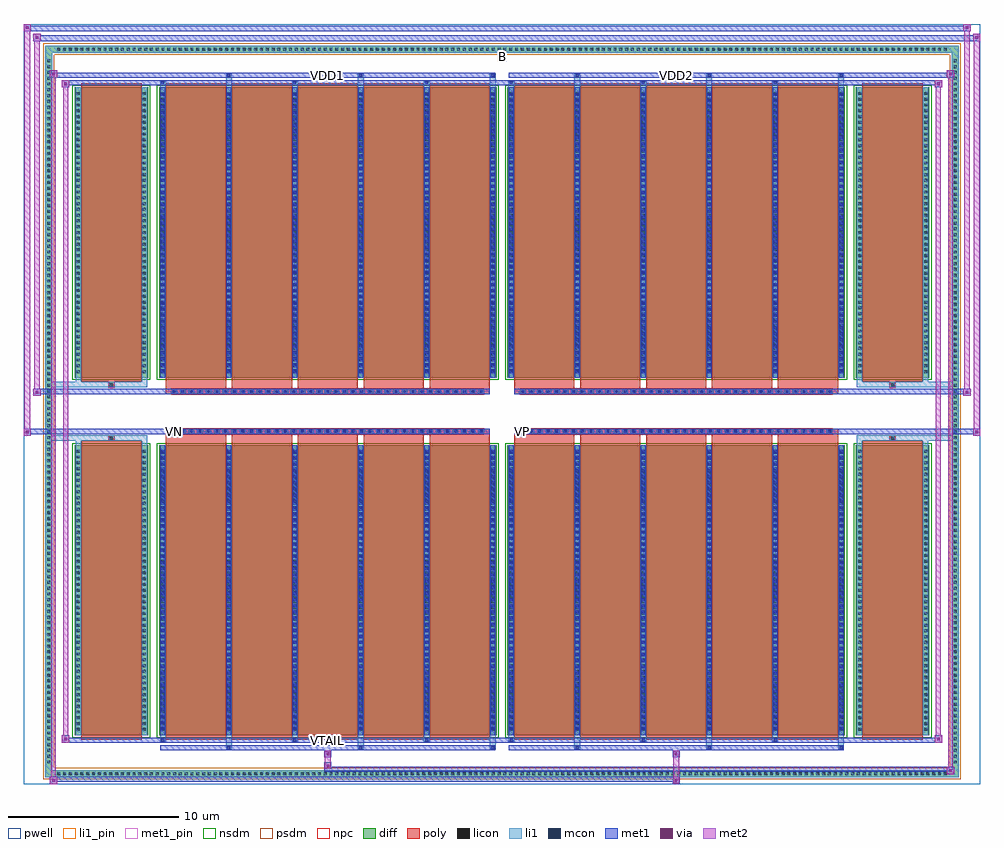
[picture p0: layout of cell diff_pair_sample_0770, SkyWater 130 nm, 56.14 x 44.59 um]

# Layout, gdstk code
import gdstk
lib = gdstk.Library(unit=1e-6, precision=5e-09)
def R(c, l, rs):  # rectangles x0, y0, x1, y1
    for r in rs: c.add(gdstk.rectangle(r[:2], r[2:], *l))
def A(c, l, x, y, w, h, nx, ny, dx, dy):  # array of equal rectangles
    R(c, l, [(x+i*dx, y+j*dy, x+i*dx+w, y+j*dy+h) for i in range(nx) for j in range(ny)])
def P(c, l, *ps):  # polygons
    for p in ps: c.add(gdstk.Polygon(p, *l))
pwell = (64, 44)
diff = (65, 20)
poly = (66, 20)
licon = (66, 44)
li1_pin = (67, 16)
li1 = (67, 20)
mcon = (67, 44)
met1_pin = (68, 16)
met1 = (68, 20)
via = (68, 44)
met2 = (69, 20)
nsdm = (93, 44)
psdm = (94, 20)
npc = (95, 20)

diff_pair_sample_0770 = lib.new_cell('diff_pair_sample_0770')
R(diff_pair_sample_0770, pwell, [(-28.07,-21.86,28.07,22.73), (-25.39,-20.05,-0.01,-0.805), (0.01,-20.05,25.39,-0.805), (-25.39,0.805,-0.01,20.05), (0.01,0.805,25.39,20.05)])
A(diff_pair_sample_0770, diff, -26.215, -21.46, 0.41, 0.41, 154, 2, 0.34, 42.51)
A(diff_pair_sample_0770, diff, -26.8, -20.775, 0.41, 0.41, 1, 122, 0, 0.34)
A(diff_pair_sample_0770, diff, 26.39, -20.775, 0.41, 0.41, 1, 122, 0, 0.34)
R(diff_pair_sample_0770, diff, [(-26.215,-21.46,26.215,-21.05), (-26.8,-20.775,-26.39,20.775), (26.39,-20.775,26.8,20.775), (-25.08,-19.005,-20.76,-1.985), (-20.12,-19.005,-0.32,-1.985), (0.32,-19.005,20.12,-1.985), (20.76,-19.005,25.08,-1.985), (-25.08,1.985,-20.76,19.005), (-20.12,1.985,-0.32,19.005), (0.32,1.985,20.12,19.005), (20.76,1.985,25.08,19.005), (-26.215,21.05,26.215,21.46)])
P(diff_pair_sample_0770, diff, [(26.8,21.46),(-26.8,21.46),(-26.8,-21.05),(-26.39,-21.05),(-26.39,21.05),(26.39,21.05),(26.39,-21.05),(-26.39,-21.05),(-26.8,-21.05),(-26.8,-21.46),(26.8,-21.46)])
A(diff_pair_sample_0770, poly, -19.73, -19.255, 3.54, 17.52, 5, 2, 3.87, 20.99)
A(diff_pair_sample_0770, poly, 0.71, -19.255, 3.54, 17.52, 5, 2, 3.87, 20.99)
A(diff_pair_sample_0770, poly, -19.73, -1.735, 3.54, 0.4, 5, 2, 3.87, 3.07)
A(diff_pair_sample_0770, poly, 0.71, -1.735, 3.54, 0.4, 5, 2, 3.87, 3.07)
A(diff_pair_sample_0770, poly, -19.385, -1.335, 0.33, 0.33, 37, 2, 0.5, 2.34)
A(diff_pair_sample_0770, poly, 1.055, -1.335, 0.33, 0.33, 37, 2, 0.5, 2.34)
R(diff_pair_sample_0770, poly, [(-24.69,-19.255,-21.15,-1.735), (21.15,-19.255,24.69,-1.735), (-23.085,-1.735,-22.755,-1.405), (-23.085,-1.735,-22.755,-1.405), (22.755,-1.735,23.085,-1.405), (22.755,-1.735,23.085,-1.405), (-19.73,-1.335,-0.71,-1.005), (0.71,-1.335,19.73,-1.005), (-19.73,1.005,-0.71,1.335), (0.71,1.005,19.73,1.335), (-23.085,1.405,-22.755,1.735), (-23.085,1.405,-22.755,1.735), (22.755,1.405,23.085,1.735), (22.755,1.405,23.085,1.735), (-24.69,1.735,-21.15,19.255), (21.15,1.735,24.69,19.255)])
A(diff_pair_sample_0770, licon, -26.095, -21.34, 0.17, 0.17, 154, 2, 0.34, 42.51)
A(diff_pair_sample_0770, licon, -26.68, -20.655, 0.17, 0.17, 1, 122, 0, 0.34)
A(diff_pair_sample_0770, licon, 26.51, -20.655, 0.17, 0.17, 1, 122, 0, 0.34)
A(diff_pair_sample_0770, licon, -24.94, -18.74, 0.17, 0.17, 1, 49, 0, 0.34)
A(diff_pair_sample_0770, licon, -21.07, -18.74, 0.17, 0.17, 1, 49, 0, 0.34)
A(diff_pair_sample_0770, licon, -19.98, -18.74, 0.17, 0.17, 6, 49, 3.87, 0.34)
A(diff_pair_sample_0770, licon, 0.46, -18.74, 0.17, 0.17, 6, 49, 3.87, 0.34)
A(diff_pair_sample_0770, licon, 20.9, -18.74, 0.17, 0.17, 1, 49, 0, 0.34)
A(diff_pair_sample_0770, licon, 24.77, -18.74, 0.17, 0.17, 1, 49, 0, 0.34)
A(diff_pair_sample_0770, licon, -19.305, -1.255, 0.17, 0.17, 37, 2, 0.5, 2.34)
A(diff_pair_sample_0770, licon, 1.135, -1.255, 0.17, 0.17, 37, 2, 0.5, 2.34)
A(diff_pair_sample_0770, licon, -24.94, 2.25, 0.17, 0.17, 1, 49, 0, 0.34)
A(diff_pair_sample_0770, licon, -21.07, 2.25, 0.17, 0.17, 1, 49, 0, 0.34)
A(diff_pair_sample_0770, licon, -19.98, 2.25, 0.17, 0.17, 6, 49, 3.87, 0.34)
A(diff_pair_sample_0770, licon, 0.46, 2.25, 0.17, 0.17, 6, 49, 3.87, 0.34)
A(diff_pair_sample_0770, licon, 20.9, 2.25, 0.17, 0.17, 1, 49, 0, 0.34)
A(diff_pair_sample_0770, licon, 24.77, 2.25, 0.17, 0.17, 1, 49, 0, 0.34)
R(diff_pair_sample_0770, licon, [(-23.005,-1.655,-22.835,-1.485), (22.835,-1.655,23.005,-1.485), (-23.005,1.485,-22.835,1.655), (22.835,1.485,23.005,1.655)])
R(diff_pair_sample_0770, li1_pin, [(-0.25,20.55,0.25,21.05)])
A(diff_pair_sample_0770, li1, -26.175, -21.42, 0.33, 0.33, 154, 2, 0.34, 42.51)
A(diff_pair_sample_0770, li1, -26.76, -20.735, 0.33, 0.33, 1, 122, 0, 0.34)
A(diff_pair_sample_0770, li1, 26.43, -20.735, 0.33, 0.33, 1, 122, 0, 0.34)
A(diff_pair_sample_0770, li1, -16.19, -19.81, 0.33, 0.805, 3, 2, 7.74, 38.815)
A(diff_pair_sample_0770, li1, -16.11, -19.81, 0.17, 0.17, 3, 2, 7.74, 39.45)
A(diff_pair_sample_0770, li1, 4.25, -19.81, 0.33, 0.805, 3, 2, 7.74, 38.815)
A(diff_pair_sample_0770, li1, 4.33, -19.81, 0.17, 0.17, 3, 2, 7.74, 39.45)
A(diff_pair_sample_0770, li1, -20.06, -19.38, 0.33, 0.375, 3, 2, 7.74, 38.385)
A(diff_pair_sample_0770, li1, -19.98, -19.38, 0.17, 0.17, 3, 2, 7.74, 38.59)
A(diff_pair_sample_0770, li1, 0.38, -19.38, 0.33, 0.375, 3, 2, 7.74, 38.385)
A(diff_pair_sample_0770, li1, 0.46, -19.38, 0.17, 0.17, 3, 2, 7.74, 38.59)
A(diff_pair_sample_0770, li1, -20.06, -19.005, 0.33, 17.02, 6, 2, 3.87, 20.99)
A(diff_pair_sample_0770, li1, 0.38, -19.005, 0.33, 17.02, 6, 2, 3.87, 20.99)
A(diff_pair_sample_0770, li1, -25.02, -18.82, 0.33, 0.33, 1, 49, 0, 0.34)
A(diff_pair_sample_0770, li1, -21.15, -18.82, 0.33, 0.33, 1, 49, 0, 0.34)
A(diff_pair_sample_0770, li1, -20.06, -18.82, 0.33, 0.33, 6, 49, 3.87, 0.34)
A(diff_pair_sample_0770, li1, 0.38, -18.82, 0.33, 0.33, 6, 49, 3.87, 0.34)
A(diff_pair_sample_0770, li1, 20.82, -18.82, 0.33, 0.33, 1, 49, 0, 0.34)
A(diff_pair_sample_0770, li1, 24.69, -18.82, 0.33, 0.33, 1, 49, 0, 0.34)
A(diff_pair_sample_0770, li1, -19.98, -18.68, 0.17, 0.17, 6, 46, 3.87, 0.36)
A(diff_pair_sample_0770, li1, -19.98, -18.68, 0.17, 16.37, 6, 2, 3.87, 20.99)
A(diff_pair_sample_0770, li1, 0.46, -18.68, 0.17, 0.17, 6, 46, 3.87, 0.36)
A(diff_pair_sample_0770, li1, 0.46, -18.68, 0.17, 16.37, 6, 2, 3.87, 20.99)
A(diff_pair_sample_0770, li1, -19.385, -1.335, 0.33, 0.33, 37, 2, 0.5, 2.34)
A(diff_pair_sample_0770, li1, 1.055, -1.335, 0.33, 0.33, 37, 2, 0.5, 2.34)
A(diff_pair_sample_0770, li1, -25.02, 2.17, 0.33, 0.33, 1, 49, 0, 0.34)
A(diff_pair_sample_0770, li1, -21.15, 2.17, 0.33, 0.33, 1, 49, 0, 0.34)
A(diff_pair_sample_0770, li1, -20.06, 2.17, 0.33, 0.33, 6, 49, 3.87, 0.34)
A(diff_pair_sample_0770, li1, 0.38, 2.17, 0.33, 0.33, 6, 49, 3.87, 0.34)
A(diff_pair_sample_0770, li1, 20.82, 2.17, 0.33, 0.33, 1, 49, 0, 0.34)
A(diff_pair_sample_0770, li1, 24.69, 2.17, 0.33, 0.33, 1, 49, 0, 0.34)
A(diff_pair_sample_0770, li1, -19.98, 2.31, 0.17, 0.17, 6, 46, 3.87, 0.36)
A(diff_pair_sample_0770, li1, 0.46, 2.31, 0.17, 0.17, 6, 46, 3.87, 0.36)
R(diff_pair_sample_0770, li1, [(-26.8,-21.46,-26.39,-21.05), (-26.8,-21.46,-26.39,-21.05), (-26.39,-21.46,26.39,-21.05), (26.39,-21.46,26.8,-21.05), (26.39,-21.46,26.8,-21.05), (-26.8,-21.05,-26.39,21.05), (26.39,-21.05,26.8,21.05), (-25.02,-19.005,-24.69,-1.985), (-21.15,-19.005,-20.82,-1.985), (20.82,-19.005,21.15,-1.985), (24.69,-19.005,25.02,-1.985), (-25.02,-1.985,-24.69,-1.405), (-21.15,-1.985,-20.82,-1.405), (20.82,-1.985,21.15,-1.405), (24.69,-1.985,25.02,-1.405), (-26.8,-1.735,-23.085,-1.405), (-25.02,-1.735,-23.085,-1.405), (-23.085,-1.735,-22.755,-1.405), (-22.755,-1.735,-20.82,-1.405), (20.82,-1.735,22.755,-1.405), (22.755,-1.735,23.085,-1.405), (22.755,-1.735,26.8,-1.405), (23.085,-1.735,25.02,-1.405), (-26.8,1.405,-23.085,1.735), (-25.02,1.405,-23.085,1.735), (-25.02,1.405,-24.69,1.985), (-23.085,1.405,-22.755,1.735), (-22.755,1.405,-20.82,1.735), (-21.15,1.405,-20.82,1.985), (20.82,1.405,22.755,1.735), (20.82,1.405,21.15,1.985), (22.755,1.405,23.085,1.735), (22.755,1.405,26.8,1.735), (23.085,1.405,25.02,1.735), (24.69,1.405,25.02,1.985), (-25.02,1.985,-24.69,19.005), (-21.15,1.985,-20.82,19.005), (20.82,1.985,21.15,19.005), (24.69,1.985,25.02,19.005), (-26.8,21.05,-26.39,21.46), (-26.8,21.05,-26.39,21.46), (-26.39,21.05,26.39,21.46), (26.39,21.05,26.8,21.46), (26.39,21.05,26.8,21.46)])
A(diff_pair_sample_0770, mcon, -16.11, -19.81, 0.17, 0.17, 3, 2, 7.74, 39.45)
A(diff_pair_sample_0770, mcon, 4.33, -19.81, 0.17, 0.17, 3, 2, 7.74, 39.45)
A(diff_pair_sample_0770, mcon, -19.98, -19.38, 0.17, 0.17, 3, 2, 7.74, 38.59)
A(diff_pair_sample_0770, mcon, 0.46, -19.38, 0.17, 0.17, 3, 2, 7.74, 38.59)
A(diff_pair_sample_0770, mcon, -19.98, -18.68, 0.17, 0.17, 6, 46, 3.87, 0.36)
A(diff_pair_sample_0770, mcon, 0.46, -18.68, 0.17, 0.17, 6, 46, 3.87, 0.36)
A(diff_pair_sample_0770, mcon, -19.305, -1.255, 0.17, 0.17, 37, 2, 0.5, 2.34)
A(diff_pair_sample_0770, mcon, 1.135, -1.255, 0.17, 0.17, 37, 2, 0.5, 2.34)
A(diff_pair_sample_0770, mcon, -19.98, 2.31, 0.17, 0.17, 6, 46, 3.87, 0.36)
A(diff_pair_sample_0770, mcon, 0.46, 2.31, 0.17, 0.17, 6, 46, 3.87, 0.36)
R(diff_pair_sample_0770, met1_pin, [(-10.355,-19.42,-10.085,-19.15), (-19.355,-1.295,-19.085,-1.025), (1.085,-1.295,1.355,-1.025), (-10.355,19.6,-10.085,19.87), (10.085,19.6,10.355,19.87)])
A(diff_pair_sample_0770, met1, -16.17, -19.87, 0.29, 0.29, 3, 2, 7.74, 39.45)
A(diff_pair_sample_0770, met1, 4.27, -19.87, 0.29, 0.29, 3, 2, 7.74, 39.45)
A(diff_pair_sample_0770, met1, -20.04, -19.44, 0.29, 0.29, 3, 2, 7.74, 38.59)
A(diff_pair_sample_0770, met1, 0.4, -19.44, 0.29, 0.29, 3, 2, 7.74, 38.59)
A(diff_pair_sample_0770, met1, -20.04, -19.005, 0.29, 17.02, 6, 2, 3.87, 20.99)
A(diff_pair_sample_0770, met1, 0.4, -19.005, 0.29, 17.02, 6, 2, 3.87, 20.99)
A(diff_pair_sample_0770, met1, -20.04, -18.74, 0.29, 0.29, 6, 46, 3.87, 0.36)
A(diff_pair_sample_0770, met1, 0.4, -18.74, 0.29, 0.29, 6, 46, 3.87, 0.36)
A(diff_pair_sample_0770, met1, -19.365, -1.315, 0.29, 0.29, 37, 2, 0.5, 2.34)
A(diff_pair_sample_0770, met1, 1.075, -1.315, 0.29, 0.29, 37, 2, 0.5, 2.34)
A(diff_pair_sample_0770, met1, -20.04, 2.25, 0.29, 0.29, 6, 46, 3.87, 0.36)
A(diff_pair_sample_0770, met1, 0.4, 2.25, 0.29, 0.29, 6, 46, 3.87, 0.36)
R(diff_pair_sample_0770, met1, [(-26.53,-21.86,-26.1,-21.43), (10.005,-21.86,10.435,-21.43), (-26.53,-21.72,10.435,-21.43), (26.1,-21.29,26.53,-20.86), (-10.435,-21.15,26.53,-20.86), (-10.435,-21.01,-10.005,-20.58), (-10.435,-20.3,-10.005,-19.87), (10.005,-20.3,10.435,-19.87), (-20.04,-19.87,-0.4,-19.58), (0.4,-19.87,20.04,-19.58), (-25.82,-19.44,-25.39,-19.01), (-25.82,-19.44,-20.04,-19.15), (-20.04,-19.44,-0.4,-19.15), (-0.4,-19.44,0.4,-19.15), (0.4,-19.44,20.04,-19.15), (20.04,-19.44,25.82,-19.15), (25.39,-19.44,25.82,-19.01), (-28.07,-1.435,-27.64,-1.005), (27.64,-1.435,28.07,-1.005), (-28.07,-1.335,-0.71,-1.005), (-19.73,-1.335,-0.71,-1.005), (0.71,-1.335,19.73,-1.005), (0.71,-1.335,28.07,-1.005), (-27.5,0.905,-27.07,1.335), (27.07,0.905,27.5,1.335), (-27.5,1.005,-19.73,1.335), (-19.73,1.005,-0.71,1.335), (0.71,1.005,19.73,1.335), (19.73,1.005,27.5,1.335), (-25.82,19.01,-25.39,19.44), (25.39,19.01,25.82,19.44), (-25.82,19.15,-20.04,19.44), (-20.04,19.15,-0.4,19.44), (-0.4,19.15,0.4,19.44), (0.4,19.15,20.04,19.44), (20.04,19.15,25.82,19.44), (-26.53,19.58,-26.1,20.01), (-26.53,19.58,-20.04,19.87), (-20.04,19.58,-0.4,19.87), (0.4,19.58,20.04,19.87), (20.04,19.58,26.53,19.87), (26.1,19.58,26.53,20.01), (-27.5,21.73,-27.07,22.16), (-27.5,21.73,-25.39,22.06), (-25.39,21.73,25.39,22.06), (25.39,21.73,28.07,22.06), (27.64,21.73,28.07,22.16), (-28.07,22.3,-27.64,22.73), (-28.07,22.3,-25.39,22.63), (-25.39,22.3,25.39,22.63), (25.39,22.3,27.5,22.63), (27.07,22.3,27.5,22.73)])
R(diff_pair_sample_0770, via, [(-26.39,-21.72,-26.24,-21.57), (10.145,-21.72,10.295,-21.57), (26.24,-21.15,26.39,-21), (-10.295,-20.87,-10.145,-20.72), (-10.295,-20.16,-10.145,-20.01), (10.145,-20.16,10.295,-20.01), (-25.68,-19.3,-25.53,-19.15), (25.53,-19.3,25.68,-19.15), (-27.93,-1.295,-27.78,-1.145), (27.78,-1.295,27.93,-1.145), (-27.36,1.045,-27.21,1.195), (27.21,1.045,27.36,1.195), (-25.68,19.15,-25.53,19.3), (25.53,19.15,25.68,19.3), (-26.39,19.72,-26.24,19.87), (26.24,19.72,26.39,19.87), (-27.36,21.87,-27.21,22.02), (27.78,21.87,27.93,22.02), (-27.93,22.44,-27.78,22.59), (27.21,22.44,27.36,22.59)])
R(diff_pair_sample_0770, met2, [(-26.53,-21.86,-26.1,-21.43), (-26.46,-21.86,-26.17,20.01), (-26.17,-21.86,-26.1,-21.43), (-26.48,-21.81,-26.15,-21.48), (10.055,-21.81,10.385,-21.48), (10.055,-21.48,10.385,-20.25), (26.1,-21.29,26.53,-20.86), (26.17,-21.29,26.46,20.01), (26.46,-21.29,26.53,-20.86), (26.15,-21.24,26.48,-20.91), (-10.385,-20.96,-10.055,-20.63), (-10.385,-20.63,-10.055,-20.25), (-10.385,-20.25,-10.055,-19.92), (10.055,-20.25,10.385,-19.92), (-25.82,-19.44,-25.39,-19.01), (-25.75,-19.44,-25.46,19.44), (-25.46,-19.44,-25.39,-19.01), (25.39,-19.44,25.82,-19.01), (25.46,-19.44,25.75,19.44), (25.75,-19.44,25.82,-19.01), (-25.77,-19.39,-25.44,-19.06), (25.44,-19.39,25.77,-19.06), (-28.07,-1.435,-27.64,-1.005), (-28.02,-1.435,-27.69,22.73), (-27.69,-1.435,-27.64,-1.005), (27.64,-1.435,28.07,-1.005), (27.69,-1.435,28.02,22.16), (28.02,-1.435,28.07,-1.005), (-28.02,-1.385,-27.69,-1.055), (27.69,-1.385,28.02,-1.055), (-27.5,0.905,-27.07,1.335), (-27.45,0.905,-27.12,22.16), (-27.12,0.905,-27.07,1.335), (27.07,0.905,27.5,1.335), (27.12,0.905,27.45,22.73), (27.45,0.905,27.5,1.335), (-27.45,0.955,-27.12,1.285), (27.12,0.955,27.45,1.285), (-25.82,19.01,-25.39,19.44), (-25.46,19.01,-25.39,19.44), (25.39,19.01,25.82,19.44), (25.75,19.01,25.82,19.44), (-25.77,19.06,-25.44,19.39), (25.44,19.06,25.77,19.39), (-26.53,19.58,-26.1,20.01), (-26.17,19.58,-26.1,20.01), (26.1,19.58,26.53,20.01), (26.46,19.58,26.53,20.01), (-26.48,19.63,-26.15,19.96), (26.15,19.63,26.48,19.96), (-27.5,21.73,-27.07,22.16), (-27.12,21.73,-27.07,22.16), (27.64,21.73,28.07,22.16), (28.02,21.73,28.07,22.16), (-27.45,21.78,-27.12,22.11), (27.69,21.78,28.02,22.11), (-28.07,22.3,-27.64,22.73), (-27.69,22.3,-27.64,22.73), (27.07,22.3,27.5,22.73), (27.45,22.3,27.5,22.73), (-28.02,22.35,-27.69,22.68), (27.12,22.35,27.45,22.68)])
R(diff_pair_sample_0770, nsdm, [(-25.21,-19.135,-20.63,-1.855), (-20.25,-19.135,-0.19,-1.855), (0.19,-19.135,20.25,-1.855), (20.63,-19.135,25.21,-1.855), (-25.21,1.855,-20.63,19.135), (-20.25,1.855,-0.19,19.135), (0.19,1.855,20.25,19.135), (20.63,1.855,25.21,19.135)])
P(diff_pair_sample_0770, psdm, [(26.93,21.59),(-26.93,21.59),(-26.93,-20.92),(-26.26,-20.92),(-26.26,20.92),(26.26,20.92),(26.26,-20.92),(-26.26,-20.92),(-26.93,-20.92),(-26.93,-21.59),(26.93,-21.59)])
A(diff_pair_sample_0770, npc, -19.405, -1.355, 0.37, 0.37, 37, 2, 0.5, 2.34)
A(diff_pair_sample_0770, npc, 1.035, -1.355, 0.37, 0.37, 37, 2, 0.5, 2.34)
R(diff_pair_sample_0770, npc, [(-23.105,-1.755,-22.735,-1.385), (22.735,-1.755,23.105,-1.385), (-19.405,-1.355,-18.535,-0.985), (-19.405,-1.355,-18.535,-0.985), (-18.905,-1.355,-18.035,-0.985), (-18.905,-1.355,-18.035,-0.985), (-18.405,-1.355,-17.535,-0.985), (-18.405,-1.355,-17.535,-0.985), (-17.905,-1.355,-17.035,-0.985), (-17.905,-1.355,-17.035,-0.985), (-17.405,-1.355,-16.535,-0.985), (-17.405,-1.355,-16.535,-0.985), (-16.905,-1.355,-16.035,-0.985), (-16.905,-1.355,-16.035,-0.985), (-16.405,-1.355,-15.535,-0.985), (-16.405,-1.355,-15.535,-0.985), (-15.905,-1.355,-15.035,-0.985), (-15.905,-1.355,-15.035,-0.985), (-15.405,-1.355,-14.535,-0.985), (-15.405,-1.355,-14.535,-0.985), (-14.905,-1.355,-14.035,-0.985), (-14.905,-1.355,-14.035,-0.985), (-14.405,-1.355,-13.535,-0.985), (-14.405,-1.355,-13.535,-0.985), (-13.905,-1.355,-13.035,-0.985), (-13.905,-1.355,-13.035,-0.985), (-13.405,-1.355,-12.535,-0.985), (-13.405,-1.355,-12.535,-0.985), (-12.905,-1.355,-12.035,-0.985), (-12.905,-1.355,-12.035,-0.985), (-12.405,-1.355,-11.535,-0.985), (-12.405,-1.355,-11.535,-0.985), (-11.905,-1.355,-11.035,-0.985), (-11.905,-1.355,-11.035,-0.985), (-11.405,-1.355,-10.535,-0.985), (-11.405,-1.355,-10.535,-0.985), (-10.905,-1.355,-10.035,-0.985), (-10.905,-1.355,-10.035,-0.985), (-10.405,-1.355,-9.535,-0.985), (-10.405,-1.355,-9.535,-0.985), (-9.905,-1.355,-9.035,-0.985), (-9.905,-1.355,-9.035,-0.985), (-9.405,-1.355,-8.535,-0.985), (-9.405,-1.355,-8.535,-0.985), (-8.905,-1.355,-8.035,-0.985), (-8.905,-1.355,-8.035,-0.985), (-8.405,-1.355,-7.535,-0.985), (-8.405,-1.355,-7.535,-0.985), (-7.905,-1.355,-7.035,-0.985), (-7.905,-1.355,-7.035,-0.985), (-7.405,-1.355,-6.535,-0.985), (-7.405,-1.355,-6.535,-0.985), (-6.905,-1.355,-6.035,-0.985), (-6.905,-1.355,-6.035,-0.985), (-6.405,-1.355,-5.535,-0.985), (-6.405,-1.355,-5.535,-0.985), (-5.905,-1.355,-5.035,-0.985), (-5.905,-1.355,-5.035,-0.985), (-5.405,-1.355,-4.535,-0.985), (-5.405,-1.355,-4.535,-0.985), (-4.905,-1.355,-4.035,-0.985), (-4.905,-1.355,-4.035,-0.985), (-4.405,-1.355,-3.535,-0.985), (-4.405,-1.355,-3.535,-0.985), (-3.905,-1.355,-3.035,-0.985), (-3.905,-1.355,-3.035,-0.985), (-3.405,-1.355,-2.535,-0.985), (-3.405,-1.355,-2.535,-0.985), (-2.905,-1.355,-2.035,-0.985), (-2.905,-1.355,-2.035,-0.985), (-2.405,-1.355,-1.535,-0.985), (-2.405,-1.355,-1.535,-0.985), (-1.905,-1.355,-1.035,-0.985), (-1.905,-1.355,-1.035,-0.985), (1.035,-1.355,1.905,-0.985), (1.035,-1.355,1.905,-0.985), (1.535,-1.355,2.405,-0.985), (1.535,-1.355,2.405,-0.985), (2.035,-1.355,2.905,-0.985), (2.035,-1.355,2.905,-0.985), (2.535,-1.355,3.405,-0.985), (2.535,-1.355,3.405,-0.985), (3.035,-1.355,3.905,-0.985), (3.035,-1.355,3.905,-0.985), (3.535,-1.355,4.405,-0.985), (3.535,-1.355,4.405,-0.985), (4.035,-1.355,4.905,-0.985), (4.035,-1.355,4.905,-0.985), (4.535,-1.355,5.405,-0.985), (4.535,-1.355,5.405,-0.985), (5.035,-1.355,5.905,-0.985), (5.035,-1.355,5.905,-0.985), (5.535,-1.355,6.405,-0.985), (5.535,-1.355,6.405,-0.985), (6.035,-1.355,6.905,-0.985), (6.035,-1.355,6.905,-0.985), (6.535,-1.355,7.405,-0.985), (6.535,-1.355,7.405,-0.985), (7.035,-1.355,7.905,-0.985), (7.035,-1.355,7.905,-0.985), (7.535,-1.355,8.405,-0.985), (7.535,-1.355,8.405,-0.985), (8.035,-1.355,8.905,-0.985), (8.035,-1.355,8.905,-0.985), (8.535,-1.355,9.405,-0.985), (8.535,-1.355,9.405,-0.985), (9.035,-1.355,9.905,-0.985), (9.035,-1.355,9.905,-0.985), (9.535,-1.355,10.405,-0.985), (9.535,-1.355,10.405,-0.985), (10.035,-1.355,10.905,-0.985), (10.035,-1.355,10.905,-0.985), (10.535,-1.355,11.405,-0.985), (10.535,-1.355,11.405,-0.985), (11.035,-1.355,11.905,-0.985), (11.035,-1.355,11.905,-0.985), (11.535,-1.355,12.405,-0.985), (11.535,-1.355,12.405,-0.985), (12.035,-1.355,12.905,-0.985), (12.035,-1.355,12.905,-0.985), (12.535,-1.355,13.405,-0.985), (12.535,-1.355,13.405,-0.985), (13.035,-1.355,13.905,-0.985), (13.035,-1.355,13.905,-0.985), (13.535,-1.355,14.405,-0.985), (13.535,-1.355,14.405,-0.985), (14.035,-1.355,14.905,-0.985), (14.035,-1.355,14.905,-0.985), (14.535,-1.355,15.405,-0.985), (14.535,-1.355,15.405,-0.985), (15.035,-1.355,15.905,-0.985), (15.035,-1.355,15.905,-0.985), (15.535,-1.355,16.405,-0.985), (15.535,-1.355,16.405,-0.985), (16.035,-1.355,16.905,-0.985), (16.035,-1.355,16.905,-0.985), (16.535,-1.355,17.405,-0.985), (16.535,-1.355,17.405,-0.985), (17.035,-1.355,17.905,-0.985), (17.035,-1.355,17.905,-0.985), (17.535,-1.355,18.405,-0.985), (17.535,-1.355,18.405,-0.985), (18.035,-1.355,18.905,-0.985), (18.035,-1.355,18.905,-0.985), (18.535,-1.355,19.405,-0.985), (18.535,-1.355,19.405,-0.985), (-19.405,0.985,-18.535,1.355), (-19.405,0.985,-18.535,1.355), (-18.905,0.985,-18.035,1.355), (-18.905,0.985,-18.035,1.355), (-18.405,0.985,-17.535,1.355), (-18.405,0.985,-17.535,1.355), (-17.905,0.985,-17.035,1.355), (-17.905,0.985,-17.035,1.355), (-17.405,0.985,-16.535,1.355), (-17.405,0.985,-16.535,1.355), (-16.905,0.985,-16.035,1.355), (-16.905,0.985,-16.035,1.355), (-16.405,0.985,-15.535,1.355), (-16.405,0.985,-15.535,1.355), (-15.905,0.985,-15.035,1.355), (-15.905,0.985,-15.035,1.355), (-15.405,0.985,-14.535,1.355), (-15.405,0.985,-14.535,1.355), (-14.905,0.985,-14.035,1.355), (-14.905,0.985,-14.035,1.355), (-14.405,0.985,-13.535,1.355), (-14.405,0.985,-13.535,1.355), (-13.905,0.985,-13.035,1.355), (-13.905,0.985,-13.035,1.355), (-13.405,0.985,-12.535,1.355), (-13.405,0.985,-12.535,1.355), (-12.905,0.985,-12.035,1.355), (-12.905,0.985,-12.035,1.355), (-12.405,0.985,-11.535,1.355), (-12.405,0.985,-11.535,1.355), (-11.905,0.985,-11.035,1.355), (-11.905,0.985,-11.035,1.355), (-11.405,0.985,-10.535,1.355), (-11.405,0.985,-10.535,1.355), (-10.905,0.985,-10.035,1.355), (-10.905,0.985,-10.035,1.355), (-10.405,0.985,-9.535,1.355), (-10.405,0.985,-9.535,1.355), (-9.905,0.985,-9.035,1.355), (-9.905,0.985,-9.035,1.355), (-9.405,0.985,-8.535,1.355), (-9.405,0.985,-8.535,1.355), (-8.905,0.985,-8.035,1.355), (-8.905,0.985,-8.035,1.355), (-8.405,0.985,-7.535,1.355), (-8.405,0.985,-7.535,1.355), (-7.905,0.985,-7.035,1.355), (-7.905,0.985,-7.035,1.355), (-7.405,0.985,-6.535,1.355), (-7.405,0.985,-6.535,1.355), (-6.905,0.985,-6.035,1.355), (-6.905,0.985,-6.035,1.355), (-6.405,0.985,-5.535,1.355), (-6.405,0.985,-5.535,1.355), (-5.905,0.985,-5.035,1.355), (-5.905,0.985,-5.035,1.355), (-5.405,0.985,-4.535,1.355), (-5.405,0.985,-4.535,1.355), (-4.905,0.985,-4.035,1.355), (-4.905,0.985,-4.035,1.355), (-4.405,0.985,-3.535,1.355), (-4.405,0.985,-3.535,1.355), (-3.905,0.985,-3.035,1.355), (-3.905,0.985,-3.035,1.355), (-3.405,0.985,-2.535,1.355), (-3.405,0.985,-2.535,1.355), (-2.905,0.985,-2.035,1.355), (-2.905,0.985,-2.035,1.355), (-2.405,0.985,-1.535,1.355), (-2.405,0.985,-1.535,1.355), (-1.905,0.985,-1.035,1.355), (-1.905,0.985,-1.035,1.355), (1.035,0.985,1.905,1.355), (1.035,0.985,1.905,1.355), (1.535,0.985,2.405,1.355), (1.535,0.985,2.405,1.355), (2.035,0.985,2.905,1.355), (2.035,0.985,2.905,1.355), (2.535,0.985,3.405,1.355), (2.535,0.985,3.405,1.355), (3.035,0.985,3.905,1.355), (3.035,0.985,3.905,1.355), (3.535,0.985,4.405,1.355), (3.535,0.985,4.405,1.355), (4.035,0.985,4.905,1.355), (4.035,0.985,4.905,1.355), (4.535,0.985,5.405,1.355), (4.535,0.985,5.405,1.355), (5.035,0.985,5.905,1.355), (5.035,0.985,5.905,1.355), (5.535,0.985,6.405,1.355), (5.535,0.985,6.405,1.355), (6.035,0.985,6.905,1.355), (6.035,0.985,6.905,1.355), (6.535,0.985,7.405,1.355), (6.535,0.985,7.405,1.355), (7.035,0.985,7.905,1.355), (7.035,0.985,7.905,1.355), (7.535,0.985,8.405,1.355), (7.535,0.985,8.405,1.355), (8.035,0.985,8.905,1.355), (8.035,0.985,8.905,1.355), (8.535,0.985,9.405,1.355), (8.535,0.985,9.405,1.355), (9.035,0.985,9.905,1.355), (9.035,0.985,9.905,1.355), (9.535,0.985,10.405,1.355), (9.535,0.985,10.405,1.355), (10.035,0.985,10.905,1.355), (10.035,0.985,10.905,1.355), (10.535,0.985,11.405,1.355), (10.535,0.985,11.405,1.355), (11.035,0.985,11.905,1.355), (11.035,0.985,11.905,1.355), (11.535,0.985,12.405,1.355), (11.535,0.985,12.405,1.355), (12.035,0.985,12.905,1.355), (12.035,0.985,12.905,1.355), (12.535,0.985,13.405,1.355), (12.535,0.985,13.405,1.355), (13.035,0.985,13.905,1.355), (13.035,0.985,13.905,1.355), (13.535,0.985,14.405,1.355), (13.535,0.985,14.405,1.355), (14.035,0.985,14.905,1.355), (14.035,0.985,14.905,1.355), (14.535,0.985,15.405,1.355), (14.535,0.985,15.405,1.355), (15.035,0.985,15.905,1.355), (15.035,0.985,15.905,1.355), (15.535,0.985,16.405,1.355), (15.535,0.985,16.405,1.355), (16.035,0.985,16.905,1.355), (16.035,0.985,16.905,1.355), (16.535,0.985,17.405,1.355), (16.535,0.985,17.405,1.355), (17.035,0.985,17.905,1.355), (17.035,0.985,17.905,1.355), (17.535,0.985,18.405,1.355), (17.535,0.985,18.405,1.355), (18.035,0.985,18.905,1.355), (18.035,0.985,18.905,1.355), (18.535,0.985,19.405,1.355), (18.535,0.985,19.405,1.355), (-23.105,1.385,-22.735,1.755), (22.735,1.385,23.105,1.755)])
diff_pair_sample_0770.add(gdstk.Label('VTAIL', (-10.22,-19.285), layer=68, texttype=5))
diff_pair_sample_0770.add(gdstk.Label('VN', (-19.22,-1.16), layer=68, texttype=5))
diff_pair_sample_0770.add(gdstk.Label('VP', (1.22,-1.16), layer=68, texttype=5))
diff_pair_sample_0770.add(gdstk.Label('B', (0,20.8), layer=67, texttype=5))
diff_pair_sample_0770.add(gdstk.Label('VDD2', (10.22,19.735), layer=68, texttype=5))
diff_pair_sample_0770.add(gdstk.Label('VDD1', (-10.22,19.735), layer=68, texttype=5))

lib.write_gds('diff_pair_sample_0770.gds')
